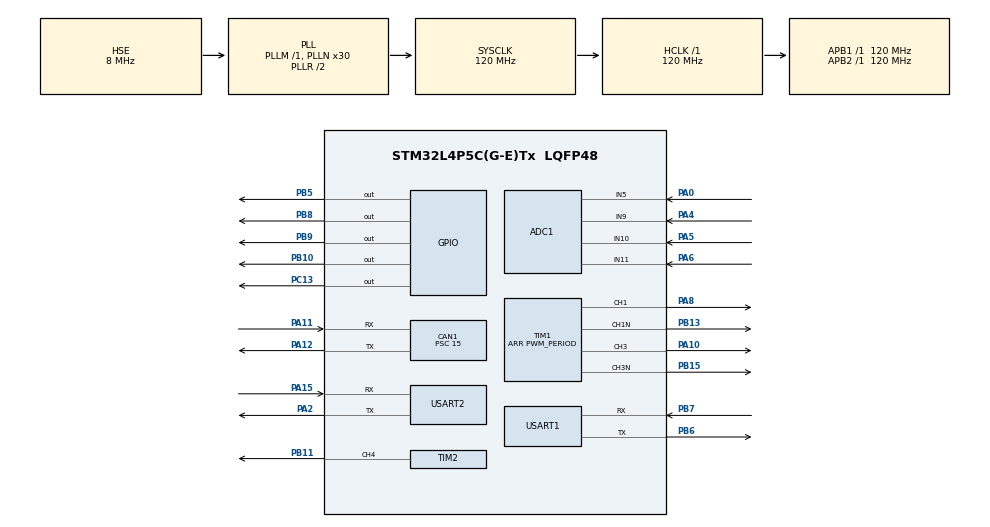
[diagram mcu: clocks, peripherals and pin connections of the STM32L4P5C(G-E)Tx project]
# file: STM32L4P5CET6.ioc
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ADC1.Channel-0\#ChannelRegularConversion=ADC_CHANNEL_5
ADC1.Channel-1\#ChannelRegularConversion=ADC_CHANNEL_9
ADC1.Channel-2\#ChannelRegularConversion=ADC_CHANNEL_11
ADC1.ContinuousConvMode=ENABLE
ADC1.DMAContinuousRequests=ENABLE
ADC1.NbrOfConversion=3
ADC1.NbrOfConversionFlag=1
ADC1.OffsetNumber-0\#ChannelRegularConversion=ADC_OFFSET_NONE
ADC1.OffsetNumber-1\#ChannelRegularConversion=ADC_OFFSET_NONE
ADC1.OffsetNumber-2\#ChannelRegularConversion=ADC_OFFSET_NONE
ADC1.Rank-0\#ChannelRegularConversion=1
ADC1.Rank-1\#ChannelRegularConversion=2
ADC1.Rank-2\#ChannelRegularConversion=3
ADC1.SamplingTime-0\#ChannelRegularConversion=ADC_SAMPLETIME_92CYCLES_5
ADC1.SamplingTime-1\#ChannelRegularConversion=ADC_SAMPLETIME_92CYCLES_5
ADC1.SamplingTime-2\#ChannelRegularConversion=ADC_SAMPLETIME_92CYCLES_5
ADC1.SingleDiff-1\#ChannelRegularConversion=ADC_DIFFERENTIAL_ENDED
ADC1.master=1
CAN1.BS1=CAN_BS1_4TQ
CAN1.BS2=CAN_BS2_4TQ
CAN1.CalculateTimeQuantum=125.00000000000001
CAN1.Prescaler=15
Dma.ADC1.0.Direction=DMA_PERIPH_TO_MEMORY
Dma.ADC1.0.EventEnable=DISABLE
Dma.ADC1.0.Instance=DMA1_Channel1
Dma.ADC1.0.MemDataAlignment=DMA_MDATAALIGN_HALFWORD
Dma.ADC1.0.MemInc=DMA_MINC_ENABLE
Dma.ADC1.0.Mode=DMA_CIRCULAR
Dma.ADC1.0.PeriphDataAlignment=DMA_PDATAALIGN_HALFWORD
Dma.ADC1.0.PeriphInc=DMA_PINC_DISABLE
Dma.ADC1.0.Polarity=HAL_DMAMUX_REQ_GEN_RISING
Dma.ADC1.0.Priority=DMA_PRIORITY_LOW
Dma.ADC1.0.RequestNumber=1
Dma.ADC1.0.SignalID=NONE
Dma.ADC1.0.SyncEnable=DISABLE
Dma.ADC1.0.SyncPolarity=HAL_DMAMUX_SYNC_NO_EVENT
Dma.ADC1.0.SyncRequestNumber=1
Dma.ADC1.0.SyncSignalID=NONE
Dma.Request0=ADC1
Dma.Request1=USART1_TX
Dma.USART1_TX.1.Direction=DMA_MEMORY_TO_PERIPH
Dma.USART1_TX.1.EventEnable=DISABLE
Dma.USART1_TX.1.Instance=DMA1_Channel2
Dma.USART1_TX.1.MemDataAlignment=DMA_MDATAALIGN_BYTE
Dma.USART1_TX.1.MemInc=DMA_MINC_ENABLE
Dma.USART1_TX.1.Mode=DMA_NORMAL
Dma.USART1_TX.1.PeriphDataAlignment=DMA_PDATAALIGN_BYTE
Dma.USART1_TX.1.PeriphInc=DMA_PINC_DISABLE
Dma.USART1_TX.1.Polarity=HAL_DMAMUX_REQ_GEN_RISING
Dma.USART1_TX.1.Priority=DMA_PRIORITY_LOW
Dma.USART1_TX.1.RequestNumber=1
Dma.USART1_TX.1.SignalID=NONE
Dma.USART1_TX.1.SyncEnable=DISABLE
Dma.USART1_TX.1.SyncPolarity=HAL_DMAMUX_SYNC_NO_EVENT
Dma.USART1_TX.1.SyncRequestNumber=1
Dma.USART1_TX.1.SyncSignalID=NONE
Mcu.Family=STM32L4
Mcu.Name=STM32L4P5C(G-E)Tx
Mcu.Package=LQFP48
Mcu.UserConstants=PWM_PERIOD,500;INV_PERIOD,1000
NVIC.ADC1_2_IRQn=true\:0\:0\:false\:false\:true\:true\:true
NVIC.DMA1_Channel1_IRQn=true\:0\:0\:false\:false\:true\:false\:true
NVIC.DMA1_Channel2_IRQn=true\:0\:0\:false\:false\:true\:false\:true
NVIC.PriorityGroup=NVIC_PRIORITYGROUP_4
NVIC.TIM3_IRQn=true\:0\:0\:false\:false\:true\:true\:true
NVIC.USART1_IRQn=true\:0\:0\:false\:false\:true\:true\:true
NVIC.USART2_IRQn=true\:0\:0\:false\:false\:true\:true\:true
PA0.Signal=ADCx_IN5
PA1.Signal=OPAMP1_VINM
PA10.Signal=S_TIM1_CH3
PA11.Mode=Master
PA11.Signal=CAN1_RX
PA12.Mode=Master
PA12.Signal=CAN1_TX
PA13\ (JTMS/SWDIO).Mode=Serial_Wire
PA13\ (JTMS/SWDIO).Signal=SYS_JTMS-SWDIO
PA14\ (JTCK/SWCLK).Mode=Serial_Wire
PA14\ (JTCK/SWCLK).Signal=SYS_JTCK-SWCLK
PA15\ (JTDI).Mode=Asynchronous
PA15\ (JTDI).Signal=USART2_RX
PA2.Mode=Asynchronous
PA2.Signal=USART2_TX
PA3.Signal=OPAMP1_VOUT
PA4.Signal=ADCx_IN9
PA5.Signal=ADCx_IN10
PA6.Signal=ADCx_IN11
PA8.Signal=S_TIM1_CH1
PB10.Signal=GPIO_Output
PB11.Signal=S_TIM2_CH4
PB13.Mode=PWM Generation1 CH1 CH1N
PB13.Signal=TIM1_CH1N
PB15.Mode=PWM Generation3 CH3 CH3N
PB15.Signal=TIM1_CH3N
PB5.Signal=GPIO_Output
PB6.Mode=Asynchronous
PB6.Signal=USART1_TX
PB7.Mode=Asynchronous
PB7.Signal=USART1_RX
PB8.Signal=GPIO_Output
PB9.Signal=GPIO_Output
PC13.Signal=GPIO_Output
PH0-OSC_IN\ (PH0).Mode=HSE-External-Oscillator
PH0-OSC_IN\ (PH0).Signal=RCC_OSC_IN
PH1-OSC_OUT\ (PH1).Mode=HSE-External-Oscillator
PH1-OSC_OUT\ (PH1).Signal=RCC_OSC_OUT
ProjectManager.HeapSize=0x200
ProjectManager.StackSize=0x400
ProjectManager.TargetToolchain=EWARM V8.32
RCC.ADCFreq_Value=32000000
RCC.AHBFreq_Value=120000000
RCC.APB1Freq_Value=120000000
RCC.APB1TimFreq_Value=120000000
RCC.APB2Freq_Value=120000000
RCC.APB2TimFreq_Value=120000000
RCC.CortexFreq_Value=120000000
RCC.HCLKFreq_Value=120000000
RCC.HSE_VALUE=8000000
RCC.HSI48_VALUE=48000000
RCC.HSI_VALUE=16000000
RCC.LSE_VALUE=32768
RCC.MSI_VALUE=4000000
RCC.PLLN=30
RCC.PLLSourceVirtual=RCC_PLLSOURCE_HSE
RCC.SYSCLKFreq_VALUE=120000000
RCC.SYSCLKSource=RCC_SYSCLKSOURCE_PLLCLK
RCC.USBFreq_Value=32000000
RCC.VCOOutputFreq_Value=240000000
SH.ADCx_IN10.0=ADC1_IN10,IN9-Differential
SH.ADCx_IN11.0=ADC1_IN11,IN11-Single-Ended
SH.ADCx_IN5.0=ADC1_IN5,IN5-Single-Ended
SH.ADCx_IN9.0=ADC1_IN9,IN9-Differential
SH.S_TIM1_CH1.0=TIM1_CH1,PWM Generation1 CH1 CH1N
SH.S_TIM1_CH3.0=TIM1_CH3,PWM Generation3 CH3 CH3N
SH.S_TIM2_CH4.0=TIM2_CH4,PWM Generation4 CH4
TIM1.AutoReloadPreload=TIM_AUTORELOAD_PRELOAD_ENABLE
TIM1.Channel-PWM\ Generation1\ CH1\ CH1N=TIM_CHANNEL_1
TIM1.Channel-PWM\ Generation2\ No\ Output=TIM_CHANNEL_2
TIM1.Channel-PWM\ Generation3\ CH3\ CH3N=TIM_CHANNEL_3
TIM1.Channel-PWM\ Generation4\ No\ Output=TIM_CHANNEL_4
TIM1.CounterMode=TIM_COUNTERMODE_CENTERALIGNED1
TIM1.OCMode_PWM-PWM\ Generation1\ CH1\ CH1N=TIM_OCMODE_ASSYMETRIC_PWM1
TIM1.OCMode_PWM-PWM\ Generation2\ No\ Output=TIM_OCMODE_ASSYMETRIC_PWM1
TIM1.OCMode_PWM-PWM\ Generation3\ CH3\ CH3N=TIM_OCMODE_ASSYMETRIC_PWM1
TIM1.OCMode_PWM-PWM\ Generation4\ No\ Output=TIM_OCMODE_ASSYMETRIC_PWM1
TIM1.Period=PWM_PERIOD
TIM1.Pulse-PWM\ Generation1\ CH1\ CH1N=PWM_PERIOD/2
TIM1.Pulse-PWM\ Generation2\ No\ Output=PWM_PERIOD/2
TIM1.Pulse-PWM\ Generation3\ CH3\ CH3N=PWM_PERIOD/2
TIM1.Pulse-PWM\ Generation4\ No\ Output=PWM_PERIOD/2
TIM2.AutoReloadPreload=TIM_AUTORELOAD_PRELOAD_ENABLE
TIM2.Channel-PWM\ Generation4\ CH4=TIM_CHANNEL_4
TIM2.Period=INV_PERIOD
TIM2.Pulse-PWM\ Generation4\ CH4=INV_PERIOD/2
TIM3.Period=16
TIM3.Prescaler=999
USART1.VirtualMode-Asynchronous=VM_ASYNC
USART2.VirtualMode-Asynchronous=VM_ASYNC
VP_TIM1_VS_ClockSourceINT.Mode=Internal
VP_TIM1_VS_no_output2.Mode=PWM Generation2 No Output
VP_TIM1_VS_no_output4.Mode=PWM Generation4 No Output
VP_TIM2_VS_ClockSourceINT.Mode=Internal
VP_TIM3_VS_ClockSourceINT.Mode=Internal
board=custom

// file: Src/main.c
/* USER CODE BEGIN Header */
/**
  ******************************************************************************
  * @file           : main.c
  * @brief          : Main program body
  ******************************************************************************
  * @attention
  *
  * <h2><center>&copy; Copyright (c) 2020 STMicroelectronics.
  * All rights reserved.</center></h2>
  *
  * This software component is licensed by ST under BSD 3-Clause license,
  * the "License"; You may not use this file except in compliance with the
  * License. You may obtain a copy of the License at:
  *                        opensource.org/licenses/BSD-3-Clause
  *
  ******************************************************************************
  */
/* USER CODE END Header */

#include "main.h"
#include "adc.h"
#include "can.h"
#include "dma.h"
#include "tim.h"
#include "usart.h"
#include "gpio.h"

/* USER CODE BEGIN Includes */
#include "stm32l4xx_it.h"
#include "printf.h"
/* USER CODE END Includes */

/* USER CODE BEGIN PV */
typedef enum reset_cause_e
{
    RESET_CAUSE_UNKNOWN = 0,
    RESET_CAUSE_LOW_POWER_RESET,
    RESET_CAUSE_WINDOW_WATCHDOG_RESET,
    RESET_CAUSE_INDEPENDENT_WATCHDOG_RESET,
    RESET_CAUSE_SOFTWARE_RESET,
    RESET_CAUSE_POWER_ON_POWER_DOWN_RESET,
    RESET_CAUSE_EXTERNAL_RESET_PIN_RESET,
    RESET_CAUSE_BROWNOUT_RESET,
} reset_cause_t;

/* USER CODE END PV */

void SystemClock_Config(void);
/* USER CODE BEGIN PFP */

uint32_t DWT_Init(void)
{
    /* Disable TRC */
    CoreDebug->DEMCR &= ~CoreDebug_DEMCR_TRCENA_Msk; // ~0x01000000;
    /* Enable TRC */
    CoreDebug->DEMCR |=  CoreDebug_DEMCR_TRCENA_Msk; // 0x01000000;
    /* Disable clock cycle counter */
    DWT->CTRL &= ~DWT_CTRL_CYCCNTENA_Msk; //~0x00000001;
    /* Enable  clock cycle counter */
    DWT->CTRL |=  DWT_CTRL_CYCCNTENA_Msk; //0x00000001;
    /* Reset the clock cycle counter value */
    DWT->CYCCNT = 0;
    /* 3 NO OPERATION instructions */
    __ASM volatile ("NOP");
    __ASM volatile ("NOP");
    __ASM volatile ("NOP");
    /* Check if clock cycle counter has started */
    if(DWT->CYCCNT)
    {
       return 0; /*clock cycle counter started*/
    }
    else
    {
      return 1; /*clock cycle counter not started*/
    }
}

reset_cause_t reset_cause_get(void)
{
    reset_cause_t reset_cause;

    if (__HAL_RCC_GET_FLAG(RCC_FLAG_LPWRRST))
    {
        reset_cause = RESET_CAUSE_LOW_POWER_RESET;
    }
    else if (__HAL_RCC_GET_FLAG(RCC_FLAG_WWDGRST))
    {
        reset_cause = RESET_CAUSE_WINDOW_WATCHDOG_RESET;
    }
    else if (__HAL_RCC_GET_FLAG(RCC_FLAG_IWDGRST))
    {
        reset_cause = RESET_CAUSE_INDEPENDENT_WATCHDOG_RESET;
    }
    else if (__HAL_RCC_GET_FLAG(RCC_FLAG_SFTRST))
    {
        reset_cause = RESET_CAUSE_SOFTWARE_RESET; // This reset is induced by calling the ARM CMSIS `NVIC_SystemReset()` function!
    }
//    else if (__HAL_RCC_GET_FLAG(RCC_FLAG_PORRST))
//    {
//        reset_cause = RESET_CAUSE_POWER_ON_POWER_DOWN_RESET;
//    }
    else if (__HAL_RCC_GET_FLAG(RCC_FLAG_PINRST))
    {
        reset_cause = RESET_CAUSE_EXTERNAL_RESET_PIN_RESET;
    }
    // Needs to come *after* checking the `RCC_FLAG_PORRST` flag in order to ensure first that the reset cause is
    // NOT a POR/PDR reset. See note below.
    else
    {
        reset_cause = RESET_CAUSE_UNKNOWN;
    }

    // Clear all the reset flags or else they will remain set during future resets until system power is fully removed.
    __HAL_RCC_CLEAR_RESET_FLAGS();

    return reset_cause;
}
/* USER CODE END PFP */

int main(void)
{

  /* MCU Configuration--------------------------------------------------------*/

  /* Reset of all peripherals, Initializes the Flash interface and the Systick. */
  HAL_Init();

  /* USER CODE BEGIN Init */
  short resetFlag = reset_cause_get();
  /* USER CODE END Init */

  /* Configure the system clock */
  SystemClock_Config();

  /* Initialize all configured peripherals */
  MX_GPIO_Init();
  MX_DMA_Init();
  MX_ADC1_Init();
  MX_CAN1_Init();
  MX_TIM1_Init();
  MX_TIM2_Init();
  MX_USART1_UART_Init();
  MX_USART2_UART_Init();
  MX_TIM3_Init();
  /* USER CODE BEGIN 2 */

  // auto calibrating ADC
  HAL_ADCEx_Calibration_Start(&hadc1,ADC_SINGLE_ENDED);
  HAL_ADCEx_Calibration_Start(&hadc1,ADC_DIFFERENTIAL_ENDED);

  CAN_Filter_Init();
  char monitor_buf[55];
  snprintf(monitor_buf,55,"System Start up! Last Reset Flag is %d, DWT Status %d\r\n\n",resetFlag,DWT_Init());
  print_debug(monitor_buf);
  start_pwm();
  change_phase_shift(200);
  change_duty_cycle(800);

  // Setup UART receiver DMA
  //HAL_UART_Receive_DMA(&huart1, &sineTableCnt, 1);
  //HAL_UART_Receive_IT(&huart2, &sineTableCnt,1);

  /* USER CODE END 2 */

  /* Infinite loop */
  /* USER CODE BEGIN WHILE */
  // start the ADC
  int status = HAL_ADC_Start_DMA(&hadc1, (uint32_t*)adc1_buffer, 3);
//  HAL_OPAMP_Start(&hopamp1);
  if (status != HAL_OK)
      print_debug("Failed to Initialize ADC\r\n");

  HAL_TIM_Base_Start_IT(&htim3); // enable timer 3 interrupt

  // Control Gain
  K11 = 0;
  short K12 = 22000;
  short K13 = 0;
  short K14 = 2;

  K22 = 0;
  short K21 = 5000;
  short K23 = 2;
  short K24 = 0;

  // Current Control Variables
  short currOutput = 0;
  short currFiltered = 0;
  //short currCmd  = 100;
  short currError = 0;

 // float currSI = 0.0;
 // float currSiFiltered = 0.0;
  float currErrorInt = 0.0f;
  float currErrorIntSat = 0.03f;
  short Dcmd = 0;
  short DcmdNew = Dcmd;

  // Voltage Control Variables
  float voltErrorInt = 0.0f;
  float voltErrorIntSat = 0.03f;
  short voltOutput = 0;
  short voltInput  = 0;
  short voltError = 0;
  short phiCmd = 0;

  // CAN related
  // CanMaster = 1;
  short dutyCmdCurrInt = 0;
  short phiCmdCurrInt = 0;
  TxData[0] = dutyCmdCurrInt & 0xff;  // Low 8 bits
  TxData[1] = dutyCmdCurrInt >> 8;    // High 8 bits
  TxData[2] = phiCmdCurrInt  & 0xff;  // Low 8 bits
  TxData[3] = phiCmdCurrInt  >> 8;    // High 8 bits

  // synchronization
  // uint8_t sync = HAL_GPIO_ReadPin(GPIOC,GPIO_PIN_11);

  int tick = 0;
  long int  monitorCnt = 0;

  char monitorBuf[100];
  // start the timer
  // HAL_TIM_Base_Start_IT(&htim3); // enable timer 3 interrupt

  while (1)
  {
    if (voltUpdate == 0) // wait for new ADC value to come in
        continue;

    tick = DWT->CYCCNT; // Check Timelapse
    DWT->CYCCNT = 0;
    voltUpdate  = 0; // clear update flag

    voltInput    = 0.8f*voltInput+0.2f*(*adc_val3);
    voltCmd      = voltInput/2.67f;// 200; // Fixed Voltage Tracking
    voltOutput   = 0.8f*voltOutput+0.2f*(*adc_val2 - 2048);
    voltError    = voltCmd - voltOutput;
    voltErrorInt = voltErrorInt + voltError*tick/(72000000.0f);

//    if (voltOutput>1000)
//    {
//      snprintf(monitorBuf,50,"HV at Cout!\r\n");
//      print_debug(monitorBuf);
//      change_phase_shift(0);
//      change_duty_cycle(0);
//      continue;
//    }

    // current control
    currOutput = *adc_val1 - 2048; // Note possible OFFSET
    currFiltered = 0.8f*currFiltered + 0.2f*currOutput;
    currError = currCmd - currFiltered;
    currErrorInt = currErrorInt + currError*tick/(72000000.0f);

    if (CanMaster>0)
    {
      dutyCmdCurrInt =  K12*currErrorInt;
      phiCmdCurrInt  =  K22*currErrorInt;
      TxData[0] = dutyCmdCurrInt & 0xff;  // Low 8 bits
      TxData[1] = dutyCmdCurrInt >> 8;    // High 8 bits
      TxData[2] = phiCmdCurrInt  & 0xff;  // Low 8 bits
      TxData[3] = phiCmdCurrInt >> 8;    // High 8 bits

      if (HAL_CAN_AddTxMessage(&hcan1, &TxHeader, TxData, &TxMailbox) != HAL_OK)
      {
        /* Transmission request Error */
        Error_Handler();
      }
    }
     HAL_GPIO_WritePin(GPIOB, GPIO_PIN_5,GPIO_PIN_RESET);
     HAL_GPIO_WritePin(GPIOB, GPIO_PIN_8,GPIO_PIN_RESET);
    //Integrator Saturations for current
    if (currErrorInt>currErrorIntSat)
    {
      HAL_GPIO_WritePin(GPIOB, GPIO_PIN_5,GPIO_PIN_SET);
      // HAL_GPIO_TogglePin(GPIOB, GPIO_PIN_9);
      currErrorInt = currErrorIntSat;
    }
    else if (currErrorInt<-currErrorIntSat)
    {
       HAL_GPIO_WritePin(GPIOB, GPIO_PIN_5,GPIO_PIN_SET);
      // HAL_GPIO_TogglePin(GPIOB, GPIO_PIN_9);
      currErrorInt = -currErrorIntSat;
    }

    // Integrator Saturations for voltage
    if (voltErrorInt>voltErrorIntSat)
    {
       HAL_GPIO_WritePin(GPIOB, GPIO_PIN_5,GPIO_PIN_SET);
      //HAL_GPIO_TogglePin(GPIOB, GPIO_PIN_9);
      voltErrorInt = voltErrorIntSat;
    }
    else if (voltErrorInt<-voltErrorIntSat)
    {
       HAL_GPIO_WritePin(GPIOB, GPIO_PIN_5,GPIO_PIN_SET);
       //HAL_GPIO_TogglePin(GPIOB, GPIO_PIN_9);
      voltErrorInt = -voltErrorIntSat;
    }

    //    DcmdNew = K11*voltErrorInt + K12*currErrorInt +K13*voltError+K14*currError;
    //    phiCmd = K21*voltErrorInt + K22*currErrorInt + K23*voltError + K24*currError;

    if (CanMaster == 1)
    {
       DcmdNew =  K11*voltErrorInt + dutyCmdCurrInt +K13*voltError + K14*currError;
       phiCmd  =  K21*voltErrorInt + phiCmdCurrInt + K23*voltError + K24*currError;
    }
    else
    {
       DcmdNew =  K11*voltErrorInt + dCmdRecv +K13*voltError + K14*currError;
       // DcmdNew = DtTable[sineTableCnt];
       phiCmd  = K21*voltErrorInt + phiCmdRecv +  K23*voltError + K24*currError;//
    }
    if (DcmdNew>999)
    {
//      HAL_GPIO_WritePin(GPIOB, GPIO_PIN_8,GPIO_PIN_SET);
      DcmdNew = 999;
    }
    else if (DcmdNew<-999)
    {
//      HAL_GPIO_WritePin(GPIOB, GPIO_PIN_8,GPIO_PIN_SET);
      DcmdNew = -999;
    }

    if (phiCmd>230)
    {
      //HAL_GPIO_WritePin(GPIOB, GPIO_PIN_8,GPIO_PIN_SET);
      phiCmd=230;
    }
    else if (phiCmd<-230)
    {
      //HAL_GPIO_WritePin(GPIOB, GPIO_PIN_8,GPIO_PIN_SET);
      phiCmd = -230;
    }

    if (abs(phiCmd-Dcmd)>50) // Jitter Indicator
    {
       HAL_GPIO_WritePin(GPIOB, GPIO_PIN_8,GPIO_PIN_SET);
    }

//    phiCmdTick = 0.2f*phiCmdTick + 0.8f*phiCmd;

    change_phase_shift(phiCmd);
    change_duty_cycle(DcmdNew);
    Dcmd = phiCmd;

    if (monitorCnt==200000)
    {
        // Vin  to  ADC: 20.28  <-> 630
        // Vout to  ADC: 18 <-> 209
        // Iout to  ADC: 1.27 <-> 100
       // snprintf(monitorBuf,60,"UART Heartbeat\r\n");
       snprintf(monitorBuf,60,"D:%d, phi:%d, Vin:%d I:%d, Vout:%d \r\n",DcmdNew,phiCmd,voltInput,currFiltered,voltOutput);
       //snprintf(monitorBuf,10,"I,%d\r\n",currFiltered);
       print_debug(monitorBuf);
       monitorCnt = 1;
    }
    else
    {
     monitorCnt++;
    }

    /* USER CODE END WHILE */

  }
}

void SystemClock_Config(void)
{
  RCC_OscInitTypeDef RCC_OscInitStruct = {0};
  RCC_ClkInitTypeDef RCC_ClkInitStruct = {0};
  RCC_PeriphCLKInitTypeDef PeriphClkInit = {0};

  /** Configure the main internal regulator output voltage
  */
  if (HAL_PWREx_ControlVoltageScaling(PWR_REGULATOR_VOLTAGE_SCALE1_BOOST) != HAL_OK)
  {
    Error_Handler();
  }
  /** Initializes the CPU, AHB and APB busses clocks
  */
  RCC_OscInitStruct.OscillatorType = RCC_OSCILLATORTYPE_HSE;
  RCC_OscInitStruct.HSEState = RCC_HSE_ON;
  RCC_OscInitStruct.PLL.PLLState = RCC_PLL_ON;
  RCC_OscInitStruct.PLL.PLLSource = RCC_PLLSOURCE_HSE;
  RCC_OscInitStruct.PLL.PLLM = 1;
  RCC_OscInitStruct.PLL.PLLN = 30;
  RCC_OscInitStruct.PLL.PLLP = RCC_PLLP_DIV7;
  RCC_OscInitStruct.PLL.PLLQ = RCC_PLLQ_DIV2;
  RCC_OscInitStruct.PLL.PLLR = RCC_PLLR_DIV2;
  if (HAL_RCC_OscConfig(&RCC_OscInitStruct) != HAL_OK)
  {
    Error_Handler();
  }
  /** Initializes the CPU, AHB and APB busses clocks
  */
  RCC_ClkInitStruct.ClockType = RCC_CLOCKTYPE_HCLK|RCC_CLOCKTYPE_SYSCLK
                              |RCC_CLOCKTYPE_PCLK1|RCC_CLOCKTYPE_PCLK2;
  RCC_ClkInitStruct.SYSCLKSource = RCC_SYSCLKSOURCE_PLLCLK;
  RCC_ClkInitStruct.AHBCLKDivider = RCC_SYSCLK_DIV1;
  RCC_ClkInitStruct.APB1CLKDivider = RCC_HCLK_DIV1;
  RCC_ClkInitStruct.APB2CLKDivider = RCC_HCLK_DIV1;

  if (HAL_RCC_ClockConfig(&RCC_ClkInitStruct, FLASH_LATENCY_5) != HAL_OK)
  {
    Error_Handler();
  }
  PeriphClkInit.PeriphClockSelection = RCC_PERIPHCLK_USART1|RCC_PERIPHCLK_USART2
                              |RCC_PERIPHCLK_ADC;
  PeriphClkInit.Usart1ClockSelection = RCC_USART1CLKSOURCE_PCLK2;
  PeriphClkInit.Usart2ClockSelection = RCC_USART2CLKSOURCE_PCLK1;
  PeriphClkInit.AdcClockSelection = RCC_ADCCLKSOURCE_PLLSAI1;
  PeriphClkInit.PLLSAI1.PLLSAI1Source = RCC_PLLSOURCE_HSE;
  PeriphClkInit.PLLSAI1.PLLSAI1M = 1;
  PeriphClkInit.PLLSAI1.PLLSAI1N = 8;
  PeriphClkInit.PLLSAI1.PLLSAI1P = RCC_PLLP_DIV7;
  PeriphClkInit.PLLSAI1.PLLSAI1Q = RCC_PLLQ_DIV2;
  PeriphClkInit.PLLSAI1.PLLSAI1R = RCC_PLLR_DIV2;
  PeriphClkInit.PLLSAI1.PLLSAI1ClockOut = RCC_PLLSAI1_ADC1CLK;
  if (HAL_RCCEx_PeriphCLKConfig(&PeriphClkInit) != HAL_OK)
  {
    Error_Handler();
  }
}

void Error_Handler(void)
{
}

/************************ (C) COPYRIGHT STMicroelectronics *****END OF FILE****/
